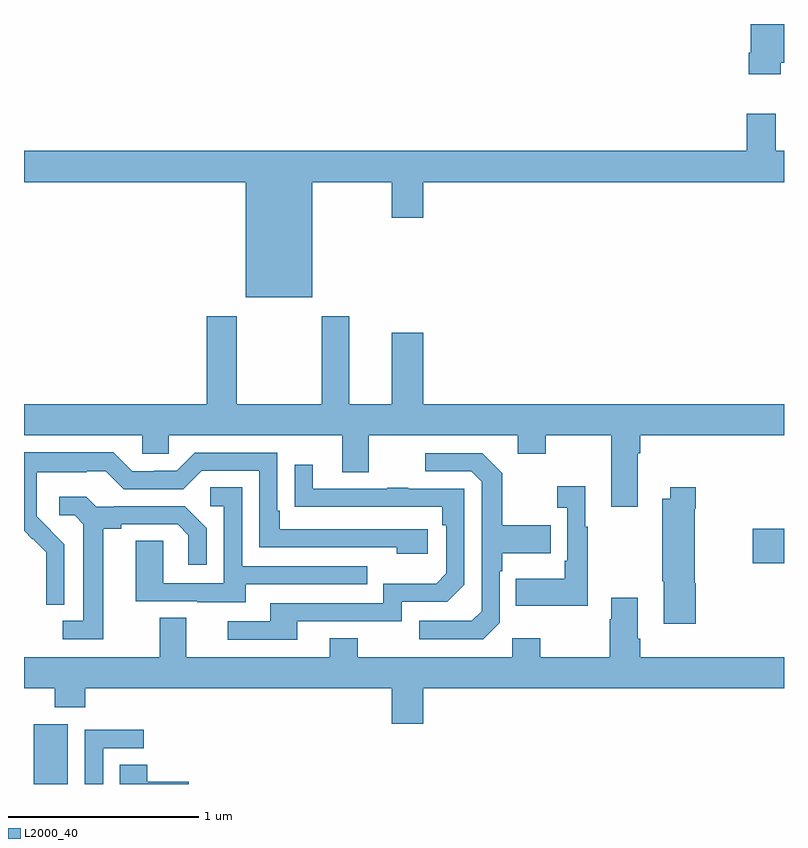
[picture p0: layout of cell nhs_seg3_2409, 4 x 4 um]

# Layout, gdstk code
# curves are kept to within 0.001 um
import gdstk
lib = gdstk.Library(unit=1e-6, precision=1e-09)
def R(c, l, rs):  # rectangles x0, y0, x1, y1
    for r in rs: c.add(gdstk.rectangle(r[:2], r[2:], *l))
def P(c, l, *ps):  # polygons
    for p in ps: c.add(gdstk.Polygon(p, *l))
L2000_40 = (2000, 40)

nhs_seg3_2409 = lib.new_cell('nhs_seg3_2409')
R(nhs_seg3_2409, L2000_40, [(235.052,712.4,235.231,712.714), (238.836,713.561,239,713.744)])
P(nhs_seg3_2409, L2000_40, [(238.984,716.196),(239,716.196),(239,716.4),(238.826,716.4),(238.826,716.248),(238.814,716.248),(238.814,716.136),(238.984,716.136)],
  [(236.518,715.568),(236.936,715.568),(236.936,715.38),(237.1,715.38),(237.1,715.568),(239,715.568),(239,715.732),(238.957,715.732),(238.957,715.927),(238.805,715.927),(238.805,715.732),(235,715.732),(235,715.568),(236.168,715.568),(236.168,714.962),(236.518,714.962)],
  [(238.231,714.14),(238.244,714.14),(238.244,714.236),(239,714.236),(239,714.4),(237.1,714.4),(237.1,714.775),(236.936,714.775),(236.936,714.4),(236.713,714.4),(236.713,714.862),(236.566,714.862),(236.566,714.4),(236.121,714.4),(236.121,714.862),(235.961,714.862),(235.961,714.4),(235,714.4),(235,714.236),(235.623,714.236),(235.623,714.138),(235.761,714.138),(235.761,714.236),(236.675,714.236),(236.675,714.042),(236.815,714.042),(236.815,714.236),(237.599,714.236),(237.599,714.137),(237.747,714.137),(237.747,714.236),(238.091,714.236),(238.091,713.859),(238.231,713.859)],
  [(235.212,713.662),(235.066,713.81),(235.066,713.907),(235.068,713.907),(235.068,714.041),(235.331,714.041),(235.331,714.045),(235.431,714.045),(235.524,713.952),(235.839,713.952),(235.935,714.048),(236.238,714.048),(236.238,713.646),(236.963,713.646),(236.963,713.612),(237.124,713.612),(237.124,713.742),(236.347,713.742),(236.347,713.839),(236.334,713.839),(236.334,714.144),(235.899,714.144),(235.803,714.048),(235.685,714.048),(235.685,714.045),(235.569,714.045),(235.469,714.145),(235,714.145),(235,713.732),(235.044,713.688),(235.047,713.691),(235.118,713.621),(235.118,713.498),(235.116,713.498),(235.116,713.344),(235.212,713.344)],
  [(237.504,713.25),(237.504,713.519),(237.517,713.519),(237.517,713.615),(237.773,713.615),(237.773,713.763),(237.517,713.763),(237.517,714.035),(237.411,714.141),(237.111,714.141),(237.111,714.045),(237.354,714.045),(237.408,713.991),(237.408,713.31),(237.357,713.259),(237.081,713.259),(237.081,713.163),(237.417,713.163)],
  [(236.437,713.256),(236.988,713.256),(236.988,713.358),(237.228,713.358),(237.318,713.448),(237.318,713.955),(237.023,713.955),(237.023,713.96),(236.911,713.96),(236.911,713.955),(236.521,713.955),(236.521,714.079),(236.425,714.079),(236.425,713.86),(237.202,713.859),(237.202,713.762),(237.222,713.762),(237.222,713.508),(237.169,713.455),(236.892,713.455),(236.892,713.352),(236.297,713.352),(236.297,713.256),(236.073,713.256),(236.073,713.16),(236.437,713.16)],
  [(237.967,713.755),(237.955,713.755),(237.955,713.968),(237.807,713.968),(237.807,713.855),(237.858,713.855),(237.858,713.575),(237.846,713.575),(237.846,713.479),(237.589,713.479),(237.589,713.339),(237.967,713.339)],
  [(236.167,713.451),(236.807,713.451),(236.807,713.547),(236.148,713.547),(236.148,713.963),(235.98,713.963),(235.98,713.862),(236.052,713.862),(236.052,713.457),(235.734,713.457),(235.734,713.681),(235.589,713.681),(235.589,713.361),(235.913,713.361),(235.913,713.357),(236.167,713.357)],
  [(238.535,713.456),(238.53,713.456),(238.53,713.849),(238.535,713.849),(238.535,713.962),(238.4,713.962),(238.4,713.902),(238.36,713.902),(238.36,713.467),(238.367,713.467),(238.367,713.244),(238.535,713.244)],
  [(235.417,713.744),(235.513,713.744),(235.513,713.766),(235.808,713.766),(235.865,713.709),(235.865,713.553),(235.962,713.553),(235.962,713.746),(235.846,713.862),(235.474,713.862),(235.474,713.859),(235.38,713.859),(235.328,713.911),(235.185,713.911),(235.185,713.814),(235.266,713.814),(235.313,713.767),(235.313,713.259),(235.203,713.259),(235.203,713.163),(235.417,713.163)],
  [(237.1,712.904),(239,712.904),(239,713.068),(238.244,713.068),(238.244,713.164),(238.231,713.164),(238.231,713.38),(238.091,713.38),(238.091,713.267),(238.084,713.267),(238.084,713.068),(237.717,713.068),(237.717,713.167),(237.57,713.167),(237.57,713.068),(236.757,713.068),(236.757,713.167),(236.609,713.167),(236.609,713.068),(235.855,713.068),(235.855,713.276),(235.715,713.276),(235.715,713.068),(235,713.068),(235,712.904),(235.162,712.904),(235.162,712.805),(235.322,712.805),(235.322,712.904),(236.936,712.904),(236.936,712.716),(237.1,712.716)],
  [(235.416,712.587),(235.63,712.587),(235.63,712.686),(235.32,712.686),(235.32,712.4),(235.416,712.4)],
  [(235.867,712.412),(235.649,712.412),(235.649,712.502),(235.505,712.502),(235.505,712.4),(235.867,712.4)])

lib.write_gds('nhs_seg3_2409.gds')
